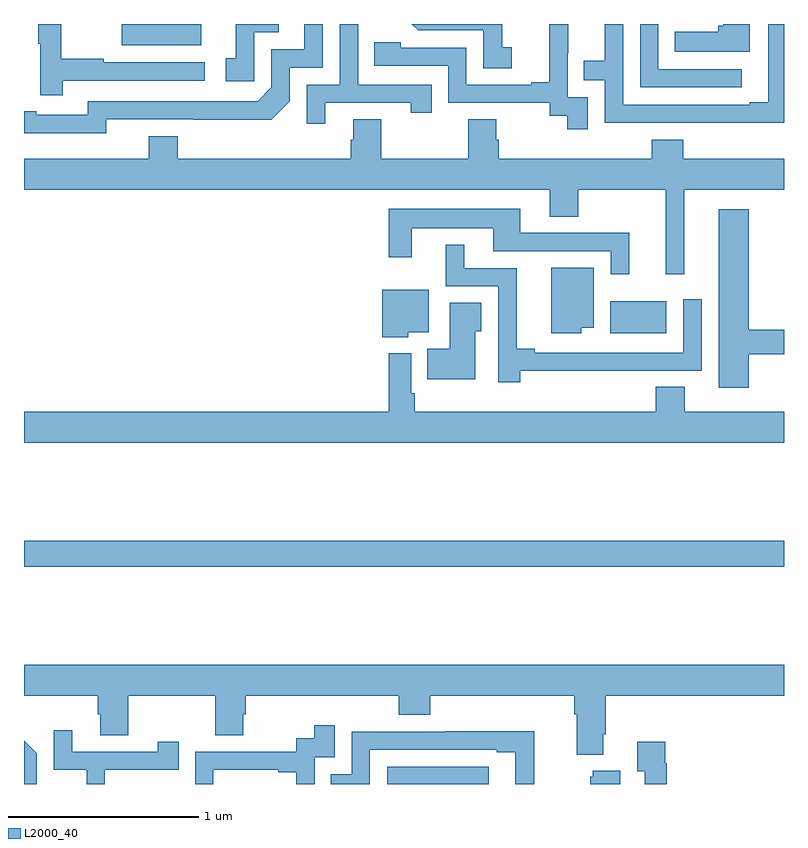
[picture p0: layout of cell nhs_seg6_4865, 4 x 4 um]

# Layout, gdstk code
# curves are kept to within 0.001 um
import gdstk
lib = gdstk.Library(unit=1e-6, precision=1e-09)
def R(c, l, rs):  # rectangles x0, y0, x1, y1
    for r in rs: c.add(gdstk.rectangle(r[:2], r[2:], *l))
def P(c, l, *ps):  # polygons
    for p in ps: c.add(gdstk.Polygon(p, *l))
L2000_40 = (2000, 40)

nhs_seg6_4865 = lib.new_cell('nhs_seg6_4865')
R(nhs_seg6_4865, L2000_40, [(400.911,985.5,401.446,985.59), (399,986.644,403,986.78), (402.086,987.872,402.379,988.042), (399.515,989.387,399.934,989.5)])
P(nhs_seg6_4865, L2000_40, [(402.82,989.5),(402.681,989.5),(402.681,989.49),(402.655,989.49),(402.655,989.458),(402.424,989.458),(402.424,989.354),(402.82,989.354)],
  [(399.432,988.998),(400.3,988.997),(400.398,989.094),(400.398,989.271),(400.572,989.271),(400.572,989.5),(400.475,989.5),(400.475,989.367),(400.302,989.367),(400.302,989.166),(400.23,989.094),(399.336,989.094),(399.336,989.022),(399.064,989.022),(399.064,989.042),(399,989.042),(399,988.926),(399.432,988.925)],
  [(401.566,989.377),(401.517,989.377),(401.517,989.5),(401.042,989.5),(401.076,989.466),(401.418,989.466),(401.418,989.268),(401.566,989.268)],
  [(400.585,989.085),(401.036,989.085),(401.036,989.034),(401.147,989.034),(401.147,989.181),(400.758,989.181),(400.758,989.5),(400.662,989.5),(400.662,989.181),(400.488,989.181),(400.488,988.974),(400.585,988.974)],
  [(402.778,989.262),(402.339,989.262),(402.339,989.5),(402.243,989.5),(402.243,989.166),(402.778,989.166)],
  [(401.967,989.115),(401.862,989.115),(401.862,989.345),(401.864,989.345),(401.864,989.5),(401.764,989.5),(401.764,989.477),(401.765,989.477),(401.765,989.194),(401.669,989.194),(401.669,989.181),(401.328,989.181),(401.328,989.376),(400.983,989.376),(400.983,989.403),(400.843,989.403),(400.843,989.28),(401.232,989.28),(401.232,989.085),(401.766,989.085),(401.766,989.017),(401.859,989.017),(401.859,988.947),(401.967,988.947)],
  [(399.203,989.202),(399.952,989.202),(399.952,989.298),(399.419,989.298),(399.419,989.318),(399.196,989.318),(399.196,989.5),(399.075,989.5),(399.075,989.395),(399.086,989.395),(399.086,989.124),(399.203,989.124)],
  [(403,989.5),(402.918,989.5),(402.918,989.089),(402.821,989.089),(402.821,989.076),(402.153,989.076),(402.153,989.5),(402.057,989.5),(402.057,989.306),(401.947,989.306),(401.947,989.205),(402.057,989.205),(402.057,988.98),(402.553,988.98),(402.553,988.979),(403,988.979)],
  [(400.212,989.457),(400.341,989.457),(400.341,989.5),(400.115,989.5),(400.115,989.319),(400.062,989.319),(400.062,989.199),(400.212,989.199)],
  [(402.476,988.628),(403,988.628),(403,988.792),(402.47,988.792),(402.47,988.891),(402.305,988.891),(402.305,988.792),(401.498,988.792),(401.498,988.89),(401.485,988.89),(401.485,989),(401.338,989),(401.338,988.792),(400.881,988.792),(400.881,989),(400.733,989),(400.733,988.89),(400.721,988.89),(400.721,988.792),(399.809,988.792),(399.809,988.909),(399.656,988.909),(399.656,988.792),(399,988.792),(399,988.628),(401.768,988.628),(401.768,988.486),(401.916,988.486),(401.916,988.628),(402.377,988.628),(402.377,988.182),(402.476,988.182)],
  [(402.185,988.401),(401.611,988.401),(401.611,988.528),(400.92,988.528),(400.92,988.272),(401.041,988.272),(401.041,988.424),(401.471,988.424),(401.471,988.305),(402.087,988.305),(402.087,988.182),(402.185,988.182)],
  [(402.815,987.762),(403,987.762),(403,987.89),(402.815,987.89),(402.815,988.525),(402.656,988.525),(402.656,987.585),(402.815,987.585)],
  [(401.612,987.674),(402.242,987.674),(402.242,987.675),(402.567,987.675),(402.567,988.051),(402.471,988.051),(402.471,987.771),(401.689,987.771),(401.689,987.791),(401.594,987.791),(401.594,988.215),(401.317,988.215),(401.317,988.339),(401.219,988.339),(401.219,988.119),(401.496,988.119),(401.496,987.615),(401.612,987.615)],
  [(401.932,987.902),(401.998,987.902),(401.998,988.216),(401.774,988.216),(401.774,987.872),(401.932,987.872)],
  [(401.022,987.878),(401.131,987.878),(401.131,988.102),(400.886,988.102),(400.886,987.851),(401.022,987.851)],
  [(401.374,987.883),(401.407,987.883),(401.407,988.034),(401.24,988.034),(401.24,987.79),(401.122,987.79),(401.122,987.629),(401.374,987.629)],
  [(403,987.46),(402.478,987.46),(402.478,987.59),(402.326,987.59),(402.326,987.46),(401.057,987.46),(401.057,987.556),(401.037,987.556),(401.037,987.766),(400.921,987.766),(400.921,987.46),(399,987.46),(399,987.296),(403,987.296)],
  [(399,985.964),(399.389,985.964),(399.389,985.866),(399.401,985.866),(399.401,985.756),(399.549,985.756),(399.549,985.964),(400.006,985.964),(400.006,985.756),(400.153,985.756),(400.153,985.866),(400.166,985.866),(400.166,985.964),(400.973,985.964),(400.973,985.865),(401.138,985.865),(401.138,985.964),(401.897,985.964),(401.897,985.868),(401.909,985.868),(401.909,985.655),(402.049,985.655),(402.049,985.762),(402.062,985.762),(402.062,985.964),(403,985.964),(403,986.128),(399,986.128)],
  [(399.996,985.575),(400.337,985.575),(400.337,985.563),(400.433,985.563),(400.433,985.5),(400.53,985.5),(400.53,985.641),(400.635,985.641),(400.635,985.81),(400.527,985.81),(400.527,985.74),(400.434,985.74),(400.434,985.671),(399.9,985.671),(399.9,985.5),(399.996,985.5)],
  [(399.426,985.575),(399.815,985.575),(399.815,985.723),(399.704,985.723),(399.704,985.671),(399.253,985.671),(399.253,985.783),(399.156,985.783),(399.156,985.575),(399.33,985.575),(399.33,985.5),(399.426,985.5)],
  [(400.821,985.68),(401.489,985.68),(401.489,985.668),(401.586,985.668),(401.586,985.5),(401.685,985.5),(401.685,985.778),(401.221,985.778),(401.221,985.776),(400.725,985.776),(400.725,985.551),(400.615,985.551),(400.615,985.5),(400.821,985.5)],
  [(399.066,985.662),(399,985.728),(399,985.5),(399.066,985.5)],
  [(402.383,985.61),(402.376,985.61),(402.376,985.723),(402.227,985.723),(402.227,985.567),(402.267,985.567),(402.267,985.5),(402.383,985.5)],
  [(402.139,985.57),(401.993,985.57),(401.993,985.539),(401.981,985.539),(401.981,985.5),(402.139,985.5)])

lib.write_gds('nhs_seg6_4865.gds')
